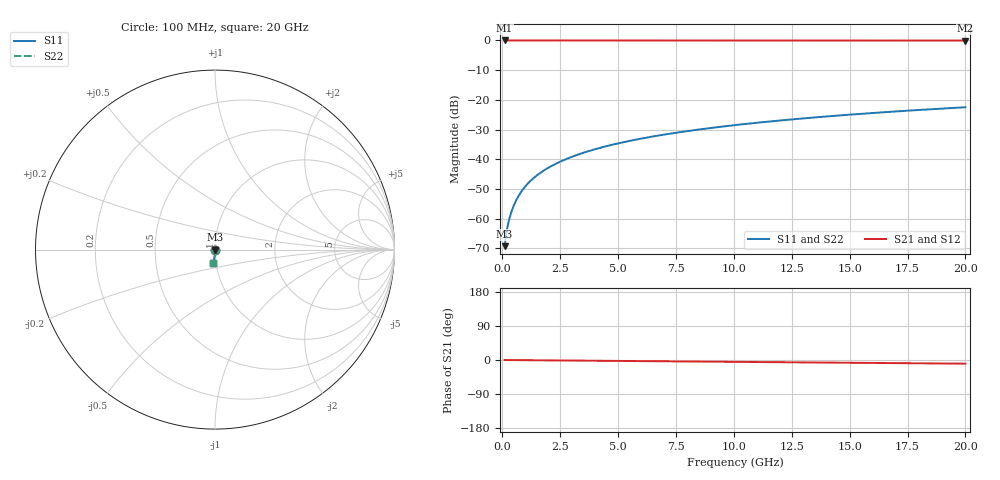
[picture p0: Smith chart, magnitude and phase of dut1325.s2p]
! Touchstone file exported from HFSS 2026.1.0
!  File:  C:/ffzhzh/LocalFiles/Ansys_Project_Files/temp_train_TSV_1325_1783195263_22436.aedt
!  Generated:  04:02:33 AM Jul  5, 2026
!  Design:  TSV
!  Project:  temp_train_TSV_1325_1783195263_22436
! Variables:
!  h_bsmrdl = 2um
!  h_ox = 20um
!  h_rdl = 5um
!  h_sub = 93.72um
!  h_tmrdl = 5um
!  h_tsv = 93.72um
!  h_via = 3um
!  l_bsmrdl = 300um
!  l_sub = 422.3um
!  l_tmrdl = 200um
!  m_sub = 200um
!  pitch = 30.56um
!  r_tsv = 11.15um
!  s_tmrdl = 10um
!  w_bsmrdl = 18um
!  w_sub = 500um
!  w_tmrdl = 12um
!  x_tsv_center1 = 206um
!  x_tsv_center2 = 524um
!  x_tsv_center3 = 736um
!  x_tsv_center4 = 1054um
!  x_tsv_center5 = 1266um
!  x_tsv_center6 = 1584um
# GHz S MA R 50.000000
! Terminal data exported
! Port[1] = TSV1_1_T1
! Port[2] = TSV1_1_T2
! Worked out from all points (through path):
!   200 points, 100 MHz to 20 GHz, reference 50 ohm
!   highest |S21| = 0.00 dB at 100 MHz (marker M1); lowest = 0.0 dB at 20 GHz (marker M2)
!   group delay of S21, straight-line fit = 1.34 ps
!   lowest |S11| = -69.3 dB at 100 MHz (marker M3), VSWR 1.00, Z = 50 - j0.0316 ohm
!   |S11| at or under -10 dB: start of sweep to end of sweep
!   |S22| runs from -69.3 to -22.5 dB; largest |S21 - S12| = 2.6e-15
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0.1  0.0003438 -66.9  0.9999 -0.1  0.9999 -0.1  0.0003438 -66.9
! Gamma 0 0 0 0
! Port Impedance 50 0 50 0
0.2  0.0006563 -76.4  0.9998 -0.1  0.9998 -0.1  0.0006563 -76.4
0.3  0.0009857 -79.4  0.9998 -0.2  0.9998 -0.2  0.0009857 -79.4
0.4  0.001327 -80.8  0.9998 -0.2  0.9998 -0.2  0.001327 -80.8
0.5  0.001678 -81.6  0.9997 -0.3  0.9997 -0.3  0.001678 -81.6
0.7  0.002402 -82.8  0.9997 -0.4  0.9997 -0.4  0.002402 -82.8
0.8  0.00277 -83.3  0.9997 -0.4  0.9997 -0.4  0.00277 -83.3
1  0.003512 -84.1  0.9996 -0.5  0.9996 -0.5  0.003512 -84.1
1.2  0.004258 -84.9  0.9996 -0.6  0.9996 -0.6  0.004258 -84.9
1.4  0.005004 -85.5  0.9995 -0.7  0.9995 -0.7  0.005004 -85.5
1.7  0.006124 -86.2  0.9995 -0.8  0.9995 -0.8  0.006124 -86.2
2  0.007244 -86.8  0.9994 -1.0  0.9994 -1.0  0.007244 -86.8
2.7  0.009856 -87.9  0.9994 -1.3  0.9994 -1.3  0.009856 -87.9
3.5  0.01285 -88.7  0.9992 -1.7  0.9992 -1.7  0.01285 -88.7
4.2  0.01547 -89.3  0.9991 -2.1  0.9991 -2.1  0.01547 -89.3
5  0.01848 -90.0  0.999 -2.4  0.999 -2.4  0.01848 -90.0
6.8  0.02527 -91.2  0.9987 -3.3  0.9987 -3.3  0.02527 -91.2
8.3  0.03095 -92.1  0.9985 -4.0  0.9985 -4.0  0.03095 -92.1
10.1  0.03776 -93.2  0.9981 -4.9  0.9981 -4.9  0.03776 -93.2
13.4  0.05023 -95.0  0.9974 -6.5  0.9974 -6.5  0.05023 -95.0
16.7  0.06267 -96.7  0.9965 -8.1  0.9965 -8.1  0.06267 -96.7
20  0.07506 -98.4  0.9955 -9.7  0.9955 -9.7  0.07506 -98.4
